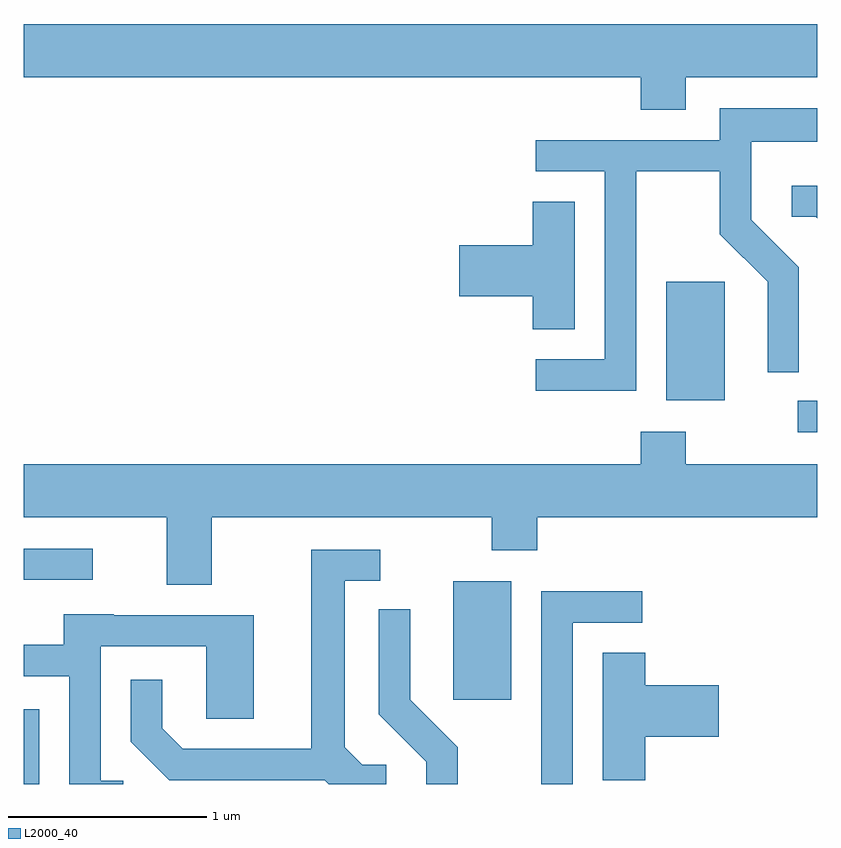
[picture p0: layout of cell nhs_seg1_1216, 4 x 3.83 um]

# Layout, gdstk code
import gdstk
lib = gdstk.Library(unit=1e-6, precision=1e-09)
def R(c, l, rs):  # rectangles x0, y0, x1, y1
    for r in rs: c.add(gdstk.rectangle(r[:2], r[2:], *l))
def P(c, l, *ps):  # polygons
    for p in ps: c.add(gdstk.Polygon(p, *l))
L2000_40 = (2000, 40)

nhs_seg1_1216 = lib.new_cell('nhs_seg1_1216')
R(nhs_seg1_1216, L2000_40, [(221.611,973.712,221.689,974.089), (223.776,974.136,224.069,974.734), (221.611,974.741,221.958,974.899), (225.513,975.486,225.611,975.644), (224.851,975.646,225.144,976.244)])
P(nhs_seg1_1216, L2000_40, [(224.949,977.276),(225.611,977.276),(225.611,977.544),(221.611,977.544),(221.611,977.276),(224.721,977.276),(224.721,977.111),(224.949,977.111)],
  [(224.699,976.801),(225.121,976.801),(225.121,976.484),(225.361,976.244),(225.361,975.788),(225.519,975.788),(225.519,976.317),(225.279,976.557),(225.279,976.951),(225.611,976.951),(225.611,977.119),(225.121,977.119),(225.121,976.959),(224.193,976.959),(224.193,976.801),(224.541,976.801),(224.541,975.854),(224.193,975.854),(224.193,975.696),(224.699,975.696)],
  [(225.611,976.729),(225.483,976.729),(225.483,976.571),(225.604,976.571),(225.611,976.564)],
  [(224.389,976.649),(224.176,976.649),(224.176,976.429),(223.806,976.429),(223.806,976.171),(224.176,976.171),(224.176,976.006),(224.389,976.006)],
  [(222.559,975.056),(223.971,975.056),(223.971,974.891),(224.199,974.891),(224.199,975.056),(225.611,975.056),(225.611,975.324),(224.949,975.324),(224.949,975.489),(224.721,975.489),(224.721,975.324),(221.611,975.324),(221.611,975.056),(222.331,975.056),(222.331,974.716),(222.559,974.716)],
  [(223.438,973.809),(223.317,973.809),(223.229,973.897),(223.229,974.736),(223.408,974.736),(223.408,974.894),(223.061,974.894),(223.061,973.889),(222.412,973.889),(222.309,973.992),(222.309,974.238),(222.151,974.238),(222.151,973.924),(222.344,973.731),(223.129,973.731),(223.148,973.712),(223.438,973.712)],
  [(224.379,974.526),(224.728,974.526),(224.728,974.684),(224.221,974.684),(224.221,973.712),(224.379,973.712)],
  [(223.799,973.897),(223.559,974.137),(223.559,974.593),(223.401,974.593),(223.401,974.064),(223.641,973.824),(223.641,973.712),(223.799,973.712)],
  [(222.113,973.729),(221.999,973.729),(221.999,974.406),(222.531,974.406),(222.531,974.041),(222.769,974.041),(222.769,974.564),(222.065,974.564),(222.065,974.569),(221.811,974.569),(221.811,974.414),(221.611,974.414),(221.611,974.256),(221.841,974.256),(221.841,973.712),(222.113,973.712)],
  [(224.744,973.951),(225.114,973.951),(225.114,974.209),(224.744,974.209),(224.744,974.374),(224.531,974.374),(224.531,973.731),(224.744,973.731)])

lib.write_gds('nhs_seg1_1216.gds')
